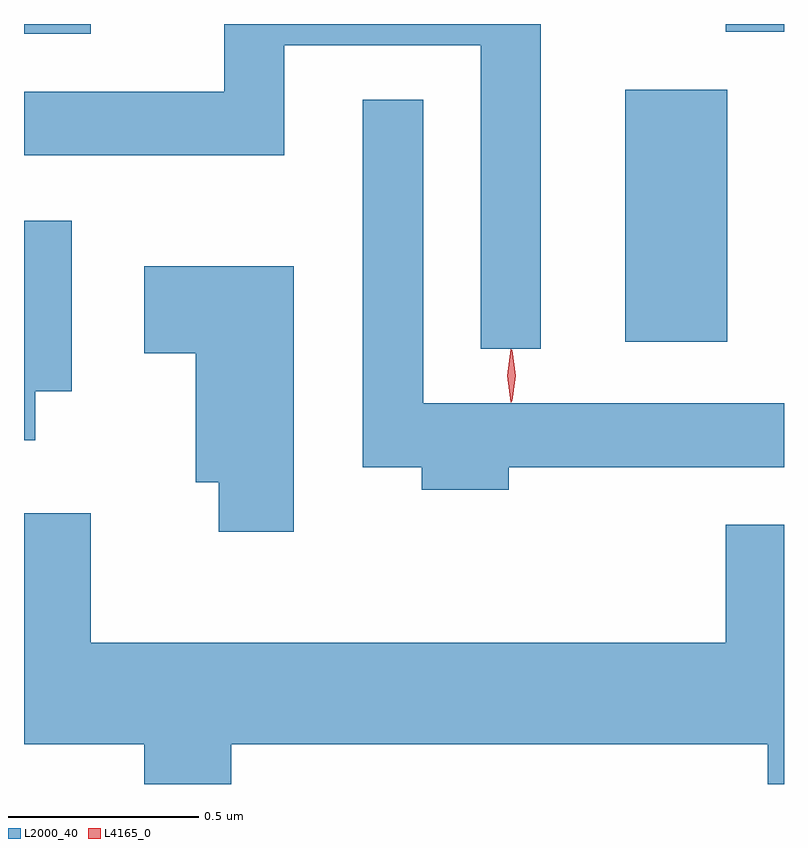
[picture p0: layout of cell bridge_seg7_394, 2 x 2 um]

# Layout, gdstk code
import gdstk
lib = gdstk.Library(unit=1e-6, precision=1e-09)
def R(c, l, rs):  # rectangles x0, y0, x1, y1
    for r in rs: c.add(gdstk.rectangle(r[:2], r[2:], *l))
def P(c, l, *ps):  # polygons
    for p in ps: c.add(gdstk.Polygon(p, *l))
L2000_40 = (2000, 40)
L4165_0 = (4165, 0)

bridge_seg7_394 = lib.new_cell('bridge_seg7_394')
R(bridge_seg7_394, L2000_40, [(1148.766,1753.116,1149.034,1753.779), (1147.184,1753.926,1147.359,1753.952), (1149.031,1753.931,1149.184,1753.952)])
P(bridge_seg7_394, L2000_40, [(1148.544,1753.952),(1147.711,1753.952),(1147.711,1753.774),(1147.184,1753.774),(1147.184,1753.606),(1147.869,1753.606),(1147.869,1753.896),(1148.386,1753.896),(1148.386,1753.098),(1148.544,1753.098)],
  [(1148.459,1752.786),(1149.184,1752.786),(1149.184,1752.954),(1148.234,1752.954),(1148.234,1753.753),(1148.076,1753.753),(1148.076,1752.786),(1148.231,1752.786),(1148.231,1752.726),(1148.459,1752.726)],
  [(1147.214,1752.986),(1147.309,1752.986),(1147.309,1753.434),(1147.184,1753.434),(1147.184,1752.856),(1147.214,1752.856)],
  [(1147.894,1753.314),(1147.501,1753.314),(1147.501,1753.086),(1147.636,1753.086),(1147.636,1752.746),(1147.696,1752.746),(1147.696,1752.616),(1147.894,1752.616)],
  [(1147.729,1752.056),(1149.141,1752.056),(1149.141,1751.952),(1149.184,1751.952),(1149.184,1752.634),(1149.031,1752.634),(1149.031,1752.324),(1147.359,1752.324),(1147.359,1752.664),(1147.184,1752.664),(1147.184,1752.056),(1147.501,1752.056),(1147.501,1751.952),(1147.729,1751.952)])
P(bridge_seg7_394, L4165_0, [(1148.465,1752.957),(1148.456,1753.027),(1148.465,1753.096),(1148.466,1753.096),(1148.466,1753.096),(1148.476,1753.027),(1148.466,1752.957),(1148.466,1752.957)],
  [(1148.468,1752.959),(1148.468,1752.96),(1148.458,1753.026),(1148.468,1753.093),(1148.468,1753.093),(1148.469,1753.093),(1148.478,1753.026),(1148.469,1752.96)])

lib.write_gds('bridge_seg7_394.gds')
